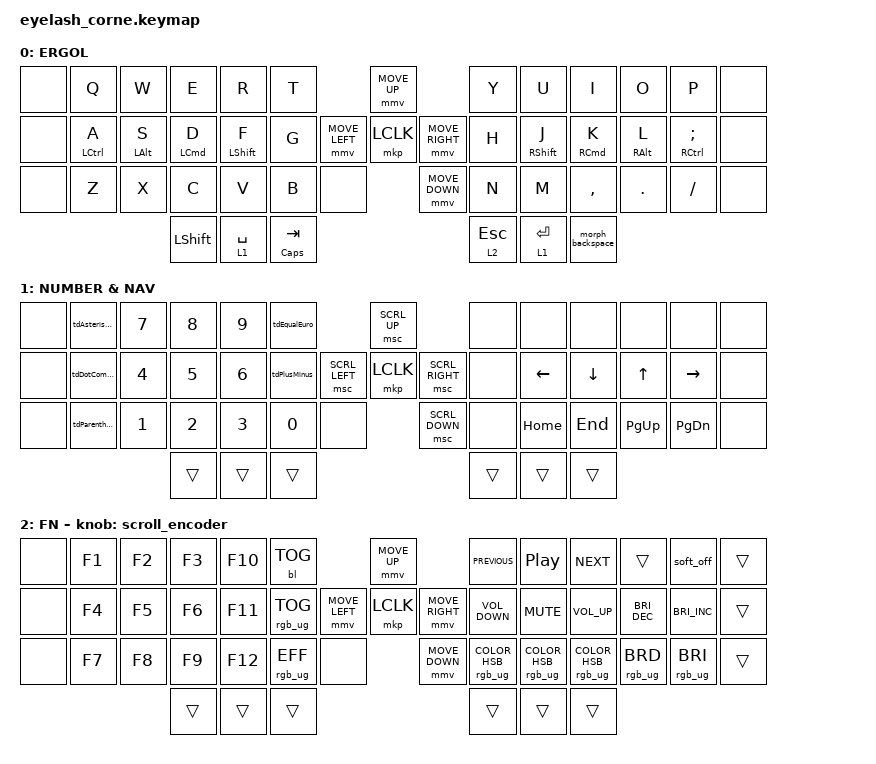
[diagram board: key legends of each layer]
#define ZMK_POINTING_DEFAULT_MOVE_VAL 1200  // 600
#define ZMK_POINTING_DEFAULT_SCRL_VAL 25   // 10

#include <input/processors.dtsi>
#include <zephyr/dt-bindings/input/input-event-codes.h>
#include <behaviors.dtsi>
#include <dt-bindings/zmk/backlight.h>
#include <dt-bindings/zmk/keys.h>
#include <dt-bindings/zmk/pointing.h>
#include <dt-bindings/zmk/rgb.h>

&mmv_input_listener { input-processors = <&zip_xy_scaler 2 1>; };

&msc_input_listener { input-processors = <&zip_scroll_scaler 2 1>; };

&msc {
    acceleration-exponent = <1>;      // 0
    time-to-max-speed-ms = <100>;       // 300
    delay-ms = <0>;                   // 0
};

&mmv {
    time-to-max-speed-ms = <500>;
    acceleration-exponent = <1>;
    trigger-period-ms = <16>;
};

&soft_off { hold-time-ms = <2000>; };

&caps_word { continue-list = <UNDERSCORE BACKSPACE DELETE COMMA SLASH SEMICOLON>; };

/ {
    behaviors {
        td0: td0 {
            compatible = "zmk,behavior-tap-dance";
            display-name = "Shift/Caps Lock Tap Dance";
            #binding-cells = <0>;
            bindings = <&kp LEFT_SHIFT>, <&kp CAPS>;
        };

        HMShiftR: HMShiftR {
            compatible = "zmk,behavior-hold-tap";
            label = "HMSHIFTR";
            bindings = <&kp>, <&kp>;

            #binding-cells = <2>;
            tapping-term-ms = <200>;
            hold-while-undecided;
            hold-trigger-on-release;
            hold-trigger-key-positions = <0 1 4 5 3 2 13 14 15 16 17 18 28 29 30 31 32 33 42 43 44>;
        };

        HMShiftL: HMShiftL {
            compatible = "zmk,behavior-hold-tap";
            label = "HMSHIFTL";
            bindings = <&kp>, <&kp>;

            #binding-cells = <2>;
            tapping-term-ms = <200>;
            hold-while-undecided;
            hold-trigger-on-release;
            hold-trigger-key-positions = <7 8 9 10 11 12 22 23 24 25 26 27 36 37 38 39 40 41 45 46 47>;
        };

        HMR: HMR {
            compatible = "zmk,behavior-hold-tap";
            label = "HMR";
            bindings = <&kp>, <&kp>;

            #binding-cells = <2>;
            tapping-term-ms = <200>;
            hold-while-undecided;
            hold-trigger-on-release;
            hold-trigger-key-positions = <0 1 4 5 3 2 13 14 15 16 17 18 28 29 30 31 32 33 42 43 44>;
            flavor = "tap-preferred";
            quick-tap-ms = <150>;
        };

        HML: HML {
            compatible = "zmk,behavior-hold-tap";
            label = "HML";
            bindings = <&kp>, <&kp>;

            #binding-cells = <2>;
            tapping-term-ms = <200>;
            hold-while-undecided;
            hold-trigger-on-release;
            hold-trigger-key-positions = <7 8 9 10 11 12 22 23 24 25 26 27 36 37 38 39 40 41 45 46 47>;
            flavor = "tap-preferred";
            quick-tap-ms = <150>;
        };

        morph_backspace: morph_backspace {
            compatible = "zmk,behavior-mod-morph";
            label = "MORPH_BACKSPACE";
            bindings = <&kp BACKSPACE>, <&kp DELETE>;

            #binding-cells = <0>;
            mods = <(MOD_LSFT|MOD_RSFT)>;
            keep-mods = <(MOD_RSFT)>;
        };

        tdPlusMinus: tdPlusMinus {
            compatible = "zmk,behavior-tap-dance";
            display-name = "Shift/Caps Lock Tap Dance";
            #binding-cells = <0>;
            bindings = <&kp PLUS>, <&kp KP_MINUS>;

            label = "TDPLUSMINUS";
        };

        tdEqualEuro: tdEqualEuro {
            compatible = "zmk,behavior-tap-dance";
            display-name = "Shift/Caps Lock Tap Dance";
            #binding-cells = <0>;
            bindings = <&kp EQUAL>, <&kp LS(NUMBER_1)>;

            label = "TDEQUALEURO";
        };

        tdAsteriskSlash: tdAsteriskSlash {
            compatible = "zmk,behavior-tap-dance";
            display-name = "Shift/Caps Lock Tap Dance";
            #binding-cells = <0>;
            bindings = <&kp ASTRK>, <&kp KP_DIVIDE>;

            label = "TDASTERISKSLASH";
        };

        tdDotComma: tdDotComma {
            compatible = "zmk,behavior-tap-dance";
            display-name = "Shift/Caps Lock Tap Dance";
            #binding-cells = <0>;
            bindings = <&kp KP_DOT>, <&kp DOT>;

            label = "TDDOTCOMMA";
        };

        tdParenthesis: tdParenthesis {
            compatible = "zmk,behavior-tap-dance";
            display-name = "Shift/Caps Lock Tap Dance";
            #binding-cells = <0>;
            bindings = <&kp LA(S)>, <&kp LA(D)>;

            label = "TDPARENTHESIS";
        };
    };

    rgb_encoder: rgb_encoder {
        compatible = "zmk,behavior-sensor-rotate";
        #sensor-binding-cells = <0>;
        bindings = <&rgb_ug RGB_BRI>, <&rgb_ug RGB_BRD>;
    };

    scroll_encoder: scroll_encoder {
        compatible = "zmk,behavior-sensor-rotate";
        #sensor-binding-cells = <0>;
        bindings = <&msc SCRL_DOWN>, <&msc SCRL_UP>;

        tap-ms = <100>;
    };

    combos { compatible = "zmk,combos"; };

    keymap {
        compatible = "zmk,keymap";

        ERGOL {
            display-name = "ERGOL";
            bindings = <
&none  &kp Q         &kp W            &kp E                &kp R              &kp T                                  &mmv MOVE_UP                     &kp Y         &kp U               &kp I                 &kp O             &kp P                    &none
&none  &HML LCTRL A  &HML LEFT_ALT S  &HML LEFT_COMMAND D  &HML LEFT_SHIFT F  &kp G                  &mmv MOVE_LEFT  &mkp LCLK       &mmv MOVE_RIGHT  &kp H         &HMR RIGHT_SHIFT J  &HMR RIGHT_COMMAND K  &HMR RIGHT_ALT L  &HMR RIGHT_CONTROL SEMI  &none
&none  &kp Z         &kp X            &kp C                &kp V              &kp B         &none                    &mmv MOVE_DOWN                   &kp N         &kp M               &kp COMMA             &kp DOT           &kp FSLH                 &none
                                      &kp LEFT_SHIFT       &lt 1 SPACE        &mt CAPS TAB                                                            &lt 2 ESCAPE  &lt 1 ENTER         &morph_backspace
            >;
        };

        NUMBER_NAV {
            display-name = "NUMBER & NAV";
            bindings = <
&none  &tdAsteriskSlash  &kp NUMBER_7  &kp NUMBER_8  &kp NUMBER_9  &tdEqualEuro                           &msc SCRL_UP                     &none   &none     &none     &none         &none            &none
&none  &tdDotComma       &kp NUMBER_4  &kp NUMBER_5  &kp NUMBER_6  &tdPlusMinus           &msc SCRL_LEFT  &mkp LCLK       &msc SCRL_RIGHT  &none   &kp LEFT  &kp DOWN  &kp UP_ARROW  &kp RIGHT_ARROW  &none
&none  &tdParenthesis    &kp NUMBER_1  &kp NUMBER_2  &kp NUMBER_3  &kp NUMBER_0  &none                    &msc SCRL_DOWN                   &none   &kp HOME  &kp END   &kp PAGE_UP   &kp PAGE_DOWN    &none
                                       &trans        &trans        &trans                                                                  &trans  &trans    &trans
            >;
        };

        FN {
            display-name = "FN";
            bindings = <
&none  &kp F1  &kp F2  &kp F3  &kp F10  &bl BL_TOG                                &mmv MOVE_UP                     &kp C_PREVIOUS                    &kp C_PLAY_PAUSE                &kp C_NEXT                        &trans                &soft_off             &trans
&none  &kp F4  &kp F5  &kp F6  &kp F11  &rgb_ug RGB_TOG           &mmv MOVE_LEFT  &mkp LCLK       &mmv MOVE_RIGHT  &kp C_VOLUME_DOWN                 &kp C_MUTE                      &kp C_VOLUME_UP                   &kp C_BRIGHTNESS_DEC  &kp C_BRIGHTNESS_INC  &trans
&none  &kp F7  &kp F8  &kp F9  &kp F12  &rgb_ug RGB_EFF  &none                    &mmv MOVE_DOWN                   &rgb_ug RGB_COLOR_HSB(101,88,18)  &rgb_ug RGB_COLOR_HSB(0,95,29)  &rgb_ug RGB_COLOR_HSB(244,90,29)  &rgb_ug RGB_BRD       &rgb_ug RGB_BRI       &trans
                       &trans  &trans   &trans                                                                     &trans                            &trans                          &trans
            >;

            sensor-bindings = <&scroll_encoder>;
        };
    };
};
